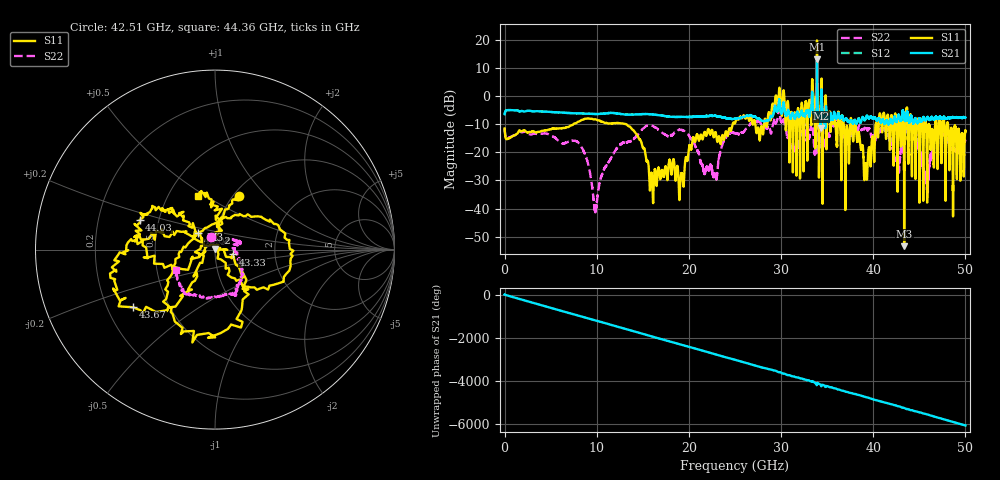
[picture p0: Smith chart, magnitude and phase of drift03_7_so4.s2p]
!Created with skrf (http://scikit-rf.org).
# Hz S RI R 50.0
!freq ReS11 ImS11 ReS21 ImS21 ReS12 ImS12 ReS22 ImS22
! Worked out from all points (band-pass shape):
!   10001 points, 300 kHz to 50 GHz, reference 50 ohm
!   highest |S21| = 12.95 dB at 33.9 GHz (marker M1); lowest = -11.5 dB at 34.32 GHz (marker M2)
!   |S21| within 3 dB of the highest: 33.89057 GHz to 33.90559 GHz (15.01 MHz wide, 0.0443 % of centre)
!   lowest |S11| = -53.4 dB at 43.36 GHz (marker M3), VSWR 1.00, Z = 49.9 + j0.19 ohm
!   |S11| at or under -10 dB: start of sweep to 7.489 GHz; 13.13 GHz to 24.74 GHz (11.61 GHz wide, 61.3 % of centre); 38.08 GHz to 40.26 GHz (2.183 GHz wide, 5.57 % of centre) (the widest 3 of 52)
!   |S22| runs from -41.4 to 5.3 dB; largest |S21 - S12| = 0.32
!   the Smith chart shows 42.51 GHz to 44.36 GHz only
!   S11 on the Smith chart (normalised r, x): 42.51 GHz: 1.06, +0.70; 43.02 GHz: 0.82, +0.15; 43.33 GHz: 1.22, -0.07; 43.67 GHz: 0.31, -0.29; 44.03 GHz: 0.39, +0.16; 44.36 GHz: 0.70, +0.47
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300000  -0.2375 -0.1135  0.467 0.0752  0.4655 0.0769  -0.2332 -0.1225
1.440291e9  0.2098 0.0648  -0.5478 -0.0293  -0.5477 -0.0291  0.2109 -0.00444
2.915283e9  -0.2117 -0.0879  0.5341 0.0514  0.5349 0.0511  -0.2026 0.0399
8.33525e9  0.2886 -0.2334  0.1466 0.4653  0.147 0.4658  -0.0732 -0.1005
9.855241e9  -0.3612 0.1346  -0.1572 -0.4488  -0.1578 -0.449  0.00875 0.00269
1.66702e10  0.0277 0.0446  -0.3778 0.2546  -0.3783 0.2546  -0.1261 -0.2183
2.500015e10  -0.3258 -0.0141  -0.2559 -0.2954  -0.255 -0.2974  -0.2125 0.0264
2.895013e10  -0.3173 0.4218  -0.2906 0.3248  -0.3023 0.2887  0.0609 0.2167
3.006512e10  0.397 0.2644  0.4478 -0.1975  0.4514 -0.185  0.171 -0.2981
3.171011e10  -0.0866 0.1871  -0.3593 0.3565  -0.3591 0.3562  0.065 0.158
3.33351e10  0.582 -0.8053  0.2387 -0.8255  0.235 -0.8044  -0.1902 -0.4061
3.38951e10  -2.357 -9.332  -4.374 0.7647  -4.107 0.9374  0.4855 1.776
3.432009e10  -0.7803 0.0025  -0.1789 0.1958  -0.2383 0.1766  0.1423 -0.0696
4.167005e10  -0.1853 0.3057  0.31 0.0085  0.3126 0.0145  -0.1994 -0.00625
4.250504e10  0.1324 0.2961  -0.00416 -0.3458  -0.00551 -0.3449  -0.0224 0.0689
4.302004e10  -0.0937 0.0925  -0.3471 -0.1128  -0.3489 -0.1102  0.1101 0.0495
4.332504e10  0.0987 -0.0267  -0.3997 0.0993  -0.4075 0.0935  0.1401 -0.0564
4.335504e10  -0.000987 0.00191  -0.3807 0.1331  -0.3764 0.1298  0.1435 -0.075
4.367004e10  -0.4563 -0.3213  -0.1918 0.4934  -0.1743 0.4785  0.1135 -0.2394
4.402504e10  -0.4202 0.1647  0.1917 0.3227  0.1865 0.3274  -0.1348 -0.2502
4.435503e10  -0.0965 0.3012  0.2774 0.1692  0.2766 0.1661  -0.2195 -0.1135
5e10  -0.1311 -0.2046  0.1482 0.3843  0.1487 0.3844  -0.057 -0.1465
